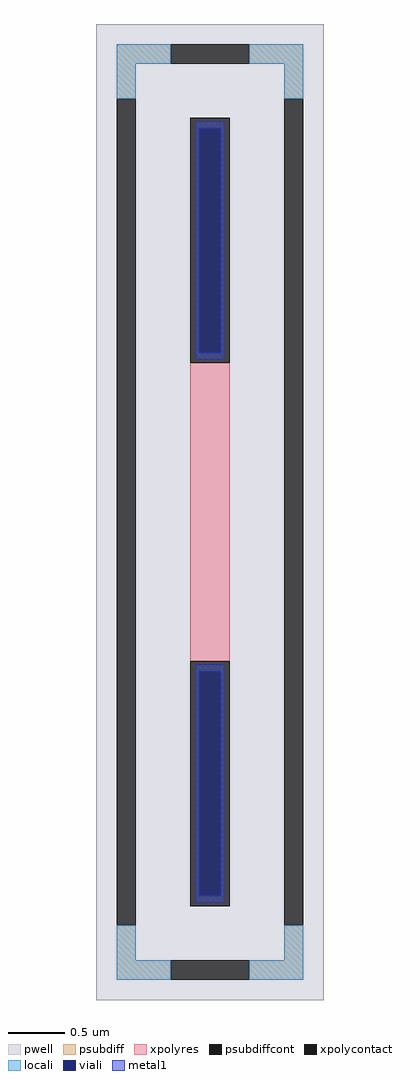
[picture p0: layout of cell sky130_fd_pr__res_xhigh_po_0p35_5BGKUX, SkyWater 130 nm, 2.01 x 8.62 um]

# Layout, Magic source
magic
tech sky130A
magscale 1 2
<< pwell >>
rect -201 -862 201 862
<< psubdiff >>
rect -165 792 -69 826
rect 69 792 165 826
rect -165 730 -131 792
rect 131 730 165 792
rect -165 -792 -131 -730
rect 131 -792 165 -730
rect -165 -826 -69 -792
rect 69 -826 165 -792
<< psubdiffcont >>
rect -69 792 69 826
rect -165 -730 -131 730
rect 131 -730 165 730
rect -69 -826 69 -792
<< xpolycontact >>
rect -35 264 35 696
rect -35 -696 35 -264
<< xpolyres >>
rect -35 -264 35 264
<< locali >>
rect -165 792 -69 826
rect 69 792 165 826
rect -165 730 -131 792
rect 131 730 165 792
rect -165 -792 -131 -730
rect 131 -792 165 -730
rect -165 -826 -69 -792
rect 69 -826 165 -792
<< viali >>
rect -19 281 19 678
rect -19 -678 19 -281
<< metal1 >>
rect -25 678 25 690
rect -25 281 -19 678
rect 19 281 25 678
rect -25 269 25 281
rect -25 -281 25 -269
rect -25 -678 -19 -281
rect 19 -678 25 -281
rect -25 -690 25 -678
<< properties >>
string FIXED_BBOX -148 -809 148 809
string gencell sky130_fd_pr__res_xhigh_po_0p35
string library sky130
string parameters w 0.350 l 2.8 m 1 nx 1 wmin 0.350 lmin 0.50 rho 2000 val 17.075k dummy 0 dw 0.0 term 188.2 sterm 0.0 caplen 0 wmax 0.350 guard 1 glc 1 grc 1 gtc 1 gbc 1 compatible {sky130_fd_pr__res_xhigh_po_0p35  sky130_fd_pr__res_xhigh_po_0p69 sky130_fd_pr__res_xhigh_po_1p41  sky130_fd_pr__res_xhigh_po_2p85 sky130_fd_pr__res_xhigh_po_5p73} snake 0 full_metal 1 n_guard 0 hv_guard 0 vias 1 viagb 0 viagt 0 viagl 0 viagr 0
<< end >>
